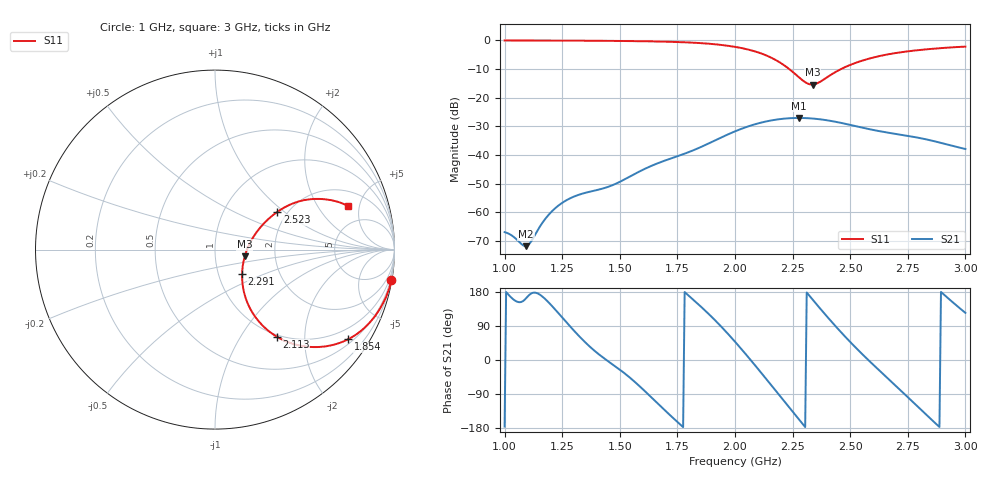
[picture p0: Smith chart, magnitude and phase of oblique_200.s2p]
! TOUCHSTONE file generated by CST MICROWAVE STUDIO
! Date and time: Tue Mar 18 00:03:01 2025
! Project name: oblique.cst
! Parameters = {Tilt=40; Fracture=1; B=12.5; D=160; F=25; Feed=2.85625; L=100; M=10; R=0.384908; S=1; Theta=180; length=57.125; wave=114.25}
! Header version: 2024
! Port assignment regex: !\s*Touchstone port\s*([0-9]+)\s*=\s*(CST MWS port|CST DES external port|CST DES block port)\s*(.+)\s* \(\"(.*)\"\)(\s*mode\s*([0-9]+))?.*
! Touchstone port assignment:
! Touchstone port 1 = CST MWS port 1 ("")
! Touchstone port 2 = CST MWS port 2 ("")
# GHz S DB R 50
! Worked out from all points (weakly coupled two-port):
!   303 points, 1 GHz to 3 GHz, reference 50 ohm
!   highest |S21| = -27.06 dB at 2.278 GHz (marker M1); lowest = -71.8 dB at 1.093 GHz (marker M2)
!   lowest |S11| = -15.4 dB at 2.338 GHz (marker M3), VSWR 1.41, Z = 69.7 - j5.31 ohm
!   |S11| at or under -10 dB: 2.235 GHz to 2.46 GHz (224.8 MHz wide, 9.58 % of centre)
!   S12 and S22 are empty: the file has one direction only
!   S11 on the Smith chart (normalised r, x): 1 GHz: 0, -12; 1.854 GHz: 0.63, -3.16; 2.113 GHz: 0.97, -1.46; 2.291 GHz: 1.30, -0.37; 2.523 GHz: 1.78, +0.89; 3 GHz: 3.12, +3.85
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1  -0.02 -9.9  -66.89 -175.7  -200.00 0.0  -200.00 0.0
1.03311  -0.02 -10.3  -68.16 162.4  -200.00 0.0  -200.00 0.0
1.09272  -0.03 -11.2  -71.78 162.5  -200.00 0.0  -200.00 0.0
1.11258  -0.03 -11.5  -70.44 174.5  -200.00 0.0  -200.00 0.0
1.16556  -0.04 -12.3  -63.45 166.7  -200.00 0.0  -200.00 0.0
1.21192  -0.06 -13.1  -59.11 138.4  -200.00 0.0  -200.00 0.0
1.27152  -0.07 -14.1  -55.62 97.4  -200.00 0.0  -200.00 0.0
1.33775  -0.10 -15.4  -53.45 54.0  -200.00 0.0  -200.00 0.0
1.46358  -0.17 -18.3  -50.66 -9.4  -200.00 0.0  -200.00 0.0
1.66887  -0.39 -24.7  -42.72 -117.2  -200.00 0.0  -200.00 0.0
1.8543  -0.97 -33.9  -37.12 139.5  -200.00 0.0  -200.00 0.0
2  -2.25 -44.7  -31.73 48.3  -200.00 0.0  -200.00 0.0
2.11258  -4.52 -54.7  -28.70 -32.9  -200.00 0.0  -200.00 0.0
2.19868  -7.89 -59.3  -27.42 -97.6  -200.00 0.0  -200.00 0.0
2.27815  -12.92 -47.9  -27.06 -157.3  -200.00 0.0  -200.00 0.0
2.29139  -13.81 -42.3  -27.07 -167.2  -200.00 0.0  -200.00 0.0
2.33775  -15.39 -12.6  -27.26 158.7  -200.00 0.0  -200.00 0.0
2.42384  -11.63 24.1  -28.20 97.8  -200.00 0.0  -200.00 0.0
2.52318  -7.84 31.2  -29.90 33.1  -200.00 0.0  -200.00 0.0
2.66887  -4.80 28.8  -32.25 -51.7  -200.00 0.0  -200.00 0.0
2.82119  -3.19 23.6  -34.37 -139.3  -200.00 0.0  -200.00 0.0
3  -2.17 18.1  -37.88 124.4  -200.00 0.0  -200.00 0.0
